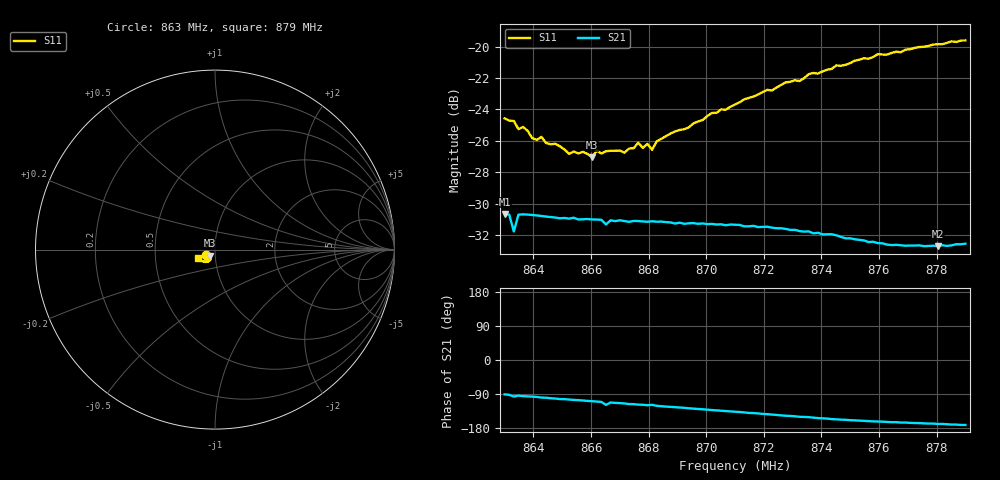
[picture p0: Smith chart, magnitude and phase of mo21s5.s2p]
# HZ S RI R 50
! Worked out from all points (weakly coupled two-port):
!   101 points, 863 MHz to 879 MHz, reference 50 ohm
!   highest |S21| = -30.66 dB at 863 MHz (marker M1); lowest = -32.7 dB at 878.04 MHz (marker M2)
!   lowest |S11| = -27.0 dB at 866.04 MHz (marker M3), VSWR 1.09, Z = 47 - j3.14 ohm
!   |S11| at or under -10 dB: start of sweep to end of sweep
!   S12 and S22 are empty: the file has one direction only
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8.63e8  -0.0502 -0.0312  -0.000352 -0.0293  0 0  0 0
8.6316e8  -0.0488 -0.0316  -0.00098 -0.0292  0 0  0 0
8.6332e8  -0.0491 -0.0308  -0.00289 -0.0256  0 0  0 0
8.6348e8  -0.0459 -0.0296  -0.00198 -0.0291  0 0  0 0
8.6364e8  -0.0459 -0.0312  -0.00271 -0.0291  0 0  0 0
8.6396e8  -0.0416 -0.0297  -0.00338 -0.0289  0 0  0 0
8.6428e8  -0.0411 -0.0312  -0.00459 -0.0285  0 0  0 0
8.6524e8  -0.0341 -0.0302  -0.00703 -0.0274  0 0  0 0
8.6572e8  -0.0314 -0.0339  -0.00818 -0.027  0 0  0 0
8.6604e8  -0.0294 -0.0333  -0.0091 -0.0266  0 0  0 0
8.662e8  -0.0303 -0.0355  -0.00947 -0.0265  0 0  0 0
8.6652e8  -0.0281 -0.037  -0.0129 -0.0239  0 0  0 0
8.6716e8  -0.0246 -0.0388  -0.0116 -0.0253  0 0  0 0
8.6764e8  -0.0265 -0.0417  -0.013 -0.0246  0 0  0 0
8.6796e8  -0.0242 -0.0426  -0.0136 -0.0241  0 0  0 0
8.6812e8  -0.0255 -0.0394  -0.0131 -0.0245  0 0  0 0
8.6844e8  -0.0235 -0.0451  -0.0147 -0.0235  0 0  0 0
8.71e8  -0.0292 -0.0585  -0.0196 -0.0186  0 0  0 0
8.7372e8  -0.0453 -0.0689  -0.0225 -0.0119  0 0  0 0
8.7644e8  -0.0704 -0.0644  -0.0225 -0.00638  0 0  0 0
8.7804e8  -0.084 -0.0575  -0.0227 -0.00454  0 0  0 0
8.79e8  -0.0924 -0.0491  -0.0233 -0.0035  0 0  0 0
